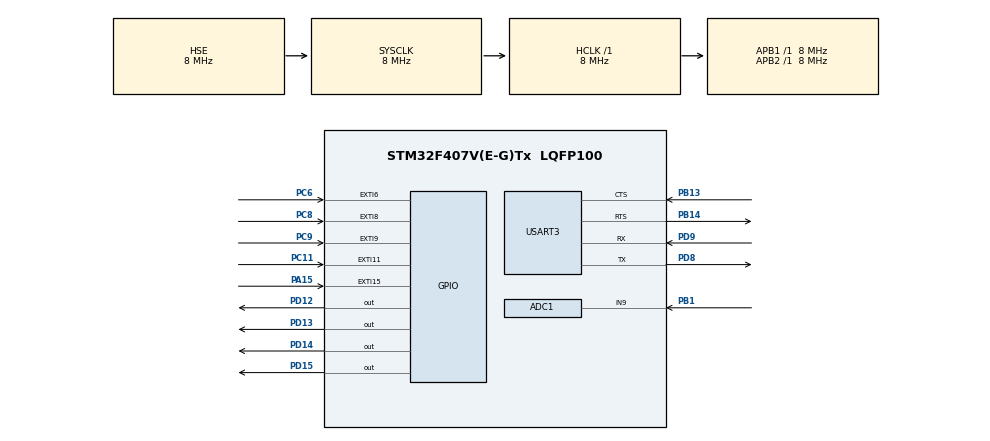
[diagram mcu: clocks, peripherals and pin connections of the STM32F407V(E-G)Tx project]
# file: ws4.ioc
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ADC1.Channel-0\#ChannelRegularConversion=ADC_CHANNEL_9
ADC1.ClockPrescaler=ADC_CLOCK_SYNC_PCLK_DIV8
ADC1.NbrOfConversionFlag=1
ADC1.Rank-0\#ChannelRegularConversion=1
ADC1.SamplingTime-0\#ChannelRegularConversion=ADC_SAMPLETIME_3CYCLES
ADC1.ScanConvMode=ENABLE
ADC1.master=1
Mcu.Family=STM32F4
Mcu.Name=STM32F407V(E-G)Tx
Mcu.Package=LQFP100
NVIC.ADC_IRQn=true\:0\:0\:false\:false\:true\:true\:true\:true
NVIC.EXTI15_10_IRQn=true\:0\:0\:false\:false\:true\:true\:true\:true
NVIC.EXTI9_5_IRQn=true\:0\:0\:false\:false\:true\:true\:true\:true
NVIC.PriorityGroup=NVIC_PRIORITYGROUP_4
NVIC.TIM2_IRQn=true\:0\:0\:false\:false\:true\:true\:true\:true
NVIC.USART3_IRQn=true\:0\:0\:false\:false\:true\:true\:true\:true
PA15.Signal=GPXTI15
PB1.Signal=ADCx_IN9
PB13.Mode=CTS_RTS
PB13.Signal=USART3_CTS
PB14.Mode=CTS_RTS
PB14.Signal=USART3_RTS
PC11.Signal=GPXTI11
PC6.Signal=GPXTI6
PC8.Signal=GPXTI8
PC9.Signal=GPXTI9
PD12.GPIO_PuPd=GPIO_NOPULL
PD12.Signal=GPIO_Output
PD13.GPIO_PuPd=GPIO_NOPULL
PD13.Signal=GPIO_Output
PD14.GPIO_PuPd=GPIO_NOPULL
PD14.Signal=GPIO_Output
PD15.GPIO_PuPd=GPIO_NOPULL
PD15.Signal=GPIO_Output
PD8.Mode=Asynchronous
PD8.Signal=USART3_TX
PD9.Mode=Asynchronous
PD9.Signal=USART3_RX
PH0-OSC_IN.Mode=HSE-External-Oscillator
PH0-OSC_IN.Signal=RCC_OSC_IN
PH1-OSC_OUT.Mode=HSE-External-Oscillator
PH1-OSC_OUT.Signal=RCC_OSC_OUT
ProjectManager.HeapSize=0x200
ProjectManager.StackSize=0x400
ProjectManager.TargetToolchain=STM32CubeIDE
RCC.48MHZClocksFreq_Value=25000000
RCC.AHBFreq_Value=8000000
RCC.APB1Freq_Value=8000000
RCC.APB1TimFreq_Value=8000000
RCC.APB2Freq_Value=8000000
RCC.APB2TimFreq_Value=8000000
RCC.CortexFreq_Value=8000000
RCC.HCLKFreq_Value=8000000
RCC.HSE_VALUE=8000000
RCC.HSI_VALUE=16000000
RCC.LSE_VALUE=32768
RCC.PLLM=4
RCC.PLLN=50
RCC.PLLP=RCC_PLLP_DIV4
RCC.PLLSourceVirtual=RCC_PLLSOURCE_HSE
RCC.SYSCLKFreq_VALUE=8000000
RCC.SYSCLKSource=RCC_SYSCLKSOURCE_HSE
RCC.VCOOutputFreq_Value=100000000
SH.ADCx_IN9.0=ADC1_IN9,IN9
TIM2.Period=5000
TIM2.Prescaler=8000
USART3.VirtualMode=VM_ASYNC
USART3.WordLength=WORDLENGTH_8B
VP_TIM2_VS_ClockSourceINT.Mode=Internal
board=custom

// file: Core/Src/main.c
/* USER CODE BEGIN Header */
/**
  ******************************************************************************
  * @file           : main.c
  * @brief          : Main program body
  ******************************************************************************
  * @attention
  *
  * Copyright (c) 2023 STMicroelectronics.
  * All rights reserved.
  *
  * This software is licensed under terms that can be found in the LICENSE file
  * in the root directory of this software component.
  * If no LICENSE file comes with this software, it is provided AS-IS.
  *
  ******************************************************************************
  */
/* USER CODE END Header */
#include "main.h"

/* USER CODE BEGIN Includes */
#include <stdio.h>
/* USER CODE END Includes */

ADC_HandleTypeDef hadc1;

TIM_HandleTypeDef htim2;

UART_HandleTypeDef huart3;

void SystemClock_Config(void);
static void MX_GPIO_Init(void);
static void MX_USART3_UART_Init(void);
static void MX_ADC1_Init(void);
static void MX_TIM2_Init(void);

/* USER CODE BEGIN 0 */
static uint8_t input_buffer[1];
static HAL_StatusTypeDef rx_status;
static const uint8_t temp_message_len = 29;
static const char temp_message[] = "Current temperature is: %02d\n\r\0";
/* USER CODE END 0 */

int main(void)
{

  /* MCU Configuration--------------------------------------------------------*/

  /* Reset of all peripherals, Initializes the Flash interface and the Systick. */
  HAL_Init();

  /* Configure the system clock */
  SystemClock_Config();

  /* Initialize all configured peripherals */
  MX_GPIO_Init();
  MX_USART3_UART_Init();
  MX_ADC1_Init();
  MX_TIM2_Init();
  /* USER CODE BEGIN 2 */
  HAL_TIM_Base_Start_IT(&htim2);
  rx_status = HAL_UART_Receive_IT(&huart3, &input_buffer[0], 1);
  /* USER CODE END 2 */

  /* Infinite loop */
  while (1)
  {

  }
}

void SystemClock_Config(void)
{
  RCC_OscInitTypeDef RCC_OscInitStruct = {0};
  RCC_ClkInitTypeDef RCC_ClkInitStruct = {0};

  /** Configure the main internal regulator output voltage
  */
  __HAL_RCC_PWR_CLK_ENABLE();
  __HAL_PWR_VOLTAGESCALING_CONFIG(PWR_REGULATOR_VOLTAGE_SCALE1);

  /** Initializes the RCC Oscillators according to the specified parameters
  * in the RCC_OscInitTypeDef structure.
  */
  RCC_OscInitStruct.OscillatorType = RCC_OSCILLATORTYPE_HSE;
  RCC_OscInitStruct.HSEState = RCC_HSE_ON;
  RCC_OscInitStruct.PLL.PLLState = RCC_PLL_NONE;
  if (HAL_RCC_OscConfig(&RCC_OscInitStruct) != HAL_OK)
  {
    Error_Handler();
  }

  /** Initializes the CPU, AHB and APB buses clocks
  */
  RCC_ClkInitStruct.ClockType = RCC_CLOCKTYPE_HCLK|RCC_CLOCKTYPE_SYSCLK
                              |RCC_CLOCKTYPE_PCLK1|RCC_CLOCKTYPE_PCLK2;
  RCC_ClkInitStruct.SYSCLKSource = RCC_SYSCLKSOURCE_HSE;
  RCC_ClkInitStruct.AHBCLKDivider = RCC_SYSCLK_DIV1;
  RCC_ClkInitStruct.APB1CLKDivider = RCC_HCLK_DIV1;
  RCC_ClkInitStruct.APB2CLKDivider = RCC_HCLK_DIV1;

  if (HAL_RCC_ClockConfig(&RCC_ClkInitStruct, FLASH_LATENCY_0) != HAL_OK)
  {
    Error_Handler();
  }
}

static void MX_ADC1_Init(void)
{

  ADC_ChannelConfTypeDef sConfig = {0};

  /** Configure the global features of the ADC (Clock, Resolution, Data Alignment and number of conversion)
  */
  hadc1.Instance = ADC1;
  hadc1.Init.ClockPrescaler = ADC_CLOCK_SYNC_PCLK_DIV8;
  hadc1.Init.Resolution = ADC_RESOLUTION_12B;
  hadc1.Init.ScanConvMode = ENABLE;
  hadc1.Init.ContinuousConvMode = DISABLE;
  hadc1.Init.DiscontinuousConvMode = DISABLE;
  hadc1.Init.ExternalTrigConvEdge = ADC_EXTERNALTRIGCONVEDGE_NONE;
  hadc1.Init.ExternalTrigConv = ADC_SOFTWARE_START;
  hadc1.Init.DataAlign = ADC_DATAALIGN_RIGHT;
  hadc1.Init.NbrOfConversion = 1;
  hadc1.Init.DMAContinuousRequests = DISABLE;
  hadc1.Init.EOCSelection = ADC_EOC_SINGLE_CONV;
  if (HAL_ADC_Init(&hadc1) != HAL_OK)
  {
    Error_Handler();
  }

  /** Configure for the selected ADC regular channel its corresponding rank in the sequencer and its sample time.
  */
  sConfig.Channel = ADC_CHANNEL_9;
  sConfig.Rank = 1;
  sConfig.SamplingTime = ADC_SAMPLETIME_3CYCLES;
  if (HAL_ADC_ConfigChannel(&hadc1, &sConfig) != HAL_OK)
  {
    Error_Handler();
  }

}

static void MX_TIM2_Init(void)
{

  TIM_ClockConfigTypeDef sClockSourceConfig = {0};
  TIM_MasterConfigTypeDef sMasterConfig = {0};

  htim2.Instance = TIM2;
  htim2.Init.Prescaler = 8000;
  htim2.Init.CounterMode = TIM_COUNTERMODE_UP;
  htim2.Init.Period = 5000;
  htim2.Init.ClockDivision = TIM_CLOCKDIVISION_DIV1;
  htim2.Init.AutoReloadPreload = TIM_AUTORELOAD_PRELOAD_DISABLE;
  if (HAL_TIM_Base_Init(&htim2) != HAL_OK)
  {
    Error_Handler();
  }
  sClockSourceConfig.ClockSource = TIM_CLOCKSOURCE_INTERNAL;
  if (HAL_TIM_ConfigClockSource(&htim2, &sClockSourceConfig) != HAL_OK)
  {
    Error_Handler();
  }
  sMasterConfig.MasterOutputTrigger = TIM_TRGO_RESET;
  sMasterConfig.MasterSlaveMode = TIM_MASTERSLAVEMODE_DISABLE;
  if (HAL_TIMEx_MasterConfigSynchronization(&htim2, &sMasterConfig) != HAL_OK)
  {
    Error_Handler();
  }

}

static void MX_USART3_UART_Init(void)
{

  huart3.Instance = USART3;
  huart3.Init.BaudRate = 115200;
  huart3.Init.WordLength = UART_WORDLENGTH_8B;
  huart3.Init.StopBits = UART_STOPBITS_1;
  huart3.Init.Parity = UART_PARITY_NONE;
  huart3.Init.Mode = UART_MODE_TX_RX;
  huart3.Init.HwFlowCtl = UART_HWCONTROL_RTS_CTS;
  huart3.Init.OverSampling = UART_OVERSAMPLING_16;
  if (HAL_UART_Init(&huart3) != HAL_OK)
  {
    Error_Handler();
  }

}

static void MX_GPIO_Init(void)
{
  GPIO_InitTypeDef GPIO_InitStruct = {0};

  /* GPIO Ports Clock Enable */
  __HAL_RCC_GPIOH_CLK_ENABLE();
  __HAL_RCC_GPIOB_CLK_ENABLE();
  __HAL_RCC_GPIOD_CLK_ENABLE();
  __HAL_RCC_GPIOC_CLK_ENABLE();
  __HAL_RCC_GPIOA_CLK_ENABLE();

  /*Configure GPIO pin Output Level */
  HAL_GPIO_WritePin(GPIOD, GPIO_PIN_12|GPIO_PIN_13|GPIO_PIN_14|GPIO_PIN_15, GPIO_PIN_RESET);

  /*Configure GPIO pins : PD12 PD13 PD14 PD15 */
  GPIO_InitStruct.Pin = GPIO_PIN_12|GPIO_PIN_13|GPIO_PIN_14|GPIO_PIN_15;
  GPIO_InitStruct.Mode = GPIO_MODE_OUTPUT_PP;
  GPIO_InitStruct.Pull = GPIO_NOPULL;
  GPIO_InitStruct.Speed = GPIO_SPEED_FREQ_LOW;
  HAL_GPIO_Init(GPIOD, &GPIO_InitStruct);

  /*Configure GPIO pins : PC6 PC8 PC9 PC11 */
  GPIO_InitStruct.Pin = GPIO_PIN_6|GPIO_PIN_8|GPIO_PIN_9|GPIO_PIN_11;
  GPIO_InitStruct.Mode = GPIO_MODE_IT_RISING;
  GPIO_InitStruct.Pull = GPIO_NOPULL;
  HAL_GPIO_Init(GPIOC, &GPIO_InitStruct);

  /*Configure GPIO pin : PA15 */
  GPIO_InitStruct.Pin = GPIO_PIN_15;
  GPIO_InitStruct.Mode = GPIO_MODE_IT_RISING;
  GPIO_InitStruct.Pull = GPIO_NOPULL;
  HAL_GPIO_Init(GPIOA, &GPIO_InitStruct);

  /* EXTI interrupt init*/
  HAL_NVIC_SetPriority(EXTI9_5_IRQn, 0, 0);
  HAL_NVIC_EnableIRQ(EXTI9_5_IRQn);

  HAL_NVIC_SetPriority(EXTI15_10_IRQn, 0, 0);
  HAL_NVIC_EnableIRQ(EXTI15_10_IRQn);

}

/* USER CODE BEGIN 4 */
static void UART_TransmitIT_TogglePin(uint8_t pin)
{
	switch (pin)
	{
		case '0':
			HAL_GPIO_TogglePin(GPIOD, GREEN_LED);
			if(GPIOD->ODR & GREEN_LED)
			{
				HAL_UART_Transmit_IT(&huart3, (uint8_t *)"Toggle Green; Pin state: active;\n\r", 35);
			}
			else
			{
				HAL_UART_Transmit_IT(&huart3, (uint8_t *)"Toggle Green; Pin state: inactive;\n\r", 37);
			}
			break;

		case '1':
			HAL_GPIO_TogglePin(GPIOD, ORANGE_LED);
			if(GPIOD->ODR & ORANGE_LED)
			{
				HAL_UART_Transmit_IT(&huart3, (uint8_t *)"Toggle Orange; Pin state: active;\n\r", 36);
			}
			else
			{
				HAL_UART_Transmit_IT(&huart3, (uint8_t *)"Toggle Orange; Pin state: inactive;\n\r", 38);
			}
			break;

		case '2':
			HAL_GPIO_TogglePin(GPIOD, RED_LED);
			if(GPIOD->ODR & RED_LED)
			{
				HAL_UART_Transmit_IT(&huart3, (uint8_t *)"Toggle Red; Pin state: active;\n\r", 33);
			}
			else
			{
				HAL_UART_Transmit_IT(&huart3, (uint8_t *)"Toggle Red; Pin state: inactive;\n\r", 35);
			}
			break;

		case '3':
			HAL_GPIO_TogglePin(GPIOD, BLUE_LED);
			if(GPIOD->ODR & BLUE_LED)
			{
				HAL_UART_Transmit_IT(&huart3, (uint8_t *)"Toggle Blue; Pin state: active;\n\r", 34);
			}
			else
			{
				HAL_UART_Transmit_IT(&huart3, (uint8_t *)"Toggle Blue; Pin state: inactive;\n\r", 36);
			}
			break;

		default:
			HAL_UART_Transmit_IT(&huart3, (uint8_t *)"Unexpected Command!\n\r", 22);
			break;
	}
}

void HAL_GPIO_EXTI_Callback(uint16_t GPIO_Pin)
	{
		switch(GPIO_Pin)
		{
			case GREEN_BUTTON:
				UART_TransmitIT_TogglePin('0');
				break;

			case ORANGE_BUTTON:
				UART_TransmitIT_TogglePin('1');
				break;

			case RED_BUTTON:
				UART_TransmitIT_TogglePin('2');
				break;

			case BLUE_BUTTON:
				UART_TransmitIT_TogglePin('3');
				break;
		}
	}

void HAL_UART_RxCpltCallback(UART_HandleTypeDef *huart)
{
	if(rx_status == HAL_OK)
	{
		UART_TransmitIT_TogglePin(input_buffer[0]);
	}
	else
	{
		HAL_UART_Transmit_IT(&huart3, (uint8_t *)"UART Receive Error!\n\r", 22);
	}

	rx_status = HAL_UART_Receive_IT(&huart3, &input_buffer[0], 1);
}

void HAL_UART_TxCpltCallback(UART_HandleTypeDef *huart)
{
}

static void TransmitData()
{
	uint8_t temp = (uint8_t)Tcurr_EXT_deg((&hadc1)->Instance->DR);
	char buffer[temp_message_len];

	int format = snprintf(buffer, temp_message_len, temp_message, temp);

	if(format > 0 && format <= temp_message_len)
	{
		HAL_UART_Transmit_IT(&huart3, (uint8_t *)&buffer[0], 29);
	}
	else
	{
		HAL_UART_Transmit_IT(&huart3, (uint8_t *)"snprintf() formatting error!\n\r\0", 31);
	}
}
void HAL_TIM_PeriodElapsedCallback(TIM_HandleTypeDef* htim)
{
	if(htim->Instance == TIM2)
	{
		HAL_ADC_Start_IT(&hadc1);
	}
}
void HAL_ADC_ConvCpltCallback(ADC_HandleTypeDef* hadc)
{
    if (hadc == &hadc1) {
        HAL_ADC_Stop(&hadc1);
        TransmitData();
    }
}
/* USER CODE END 4 */

void Error_Handler(void)
{
  __disable_irq();
  while (1)
  {
  }
}
